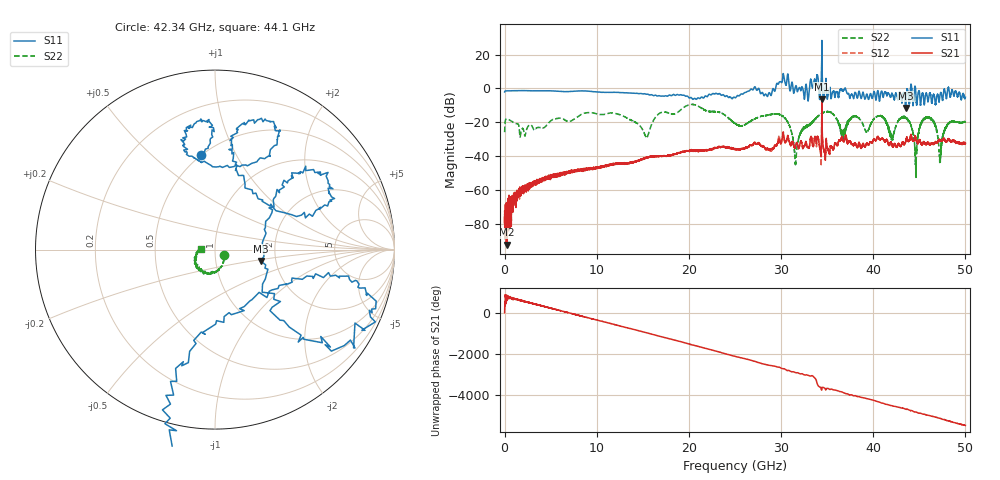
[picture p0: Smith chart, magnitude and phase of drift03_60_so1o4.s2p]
!Created with skrf (http://scikit-rf.org).
# Hz S RI R 50.0
!freq ReS11 ImS11 ReS21 ImS21 ReS12 ImS12 ReS22 ImS22
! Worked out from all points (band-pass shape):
!   10000 points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, 5.3 MHz to 50 GHz, reference 50 ohm
!   highest |S21| = -6.55 dB at 34.43 GHz (marker M1); lowest = -92.3 dB at 225.3 MHz (marker M2)
!   |S21| within 3 dB of the highest: 34.42737 GHz to 34.43454 GHz (7.166 MHz wide, 0.0208 % of centre)
!   lowest |S11| = -11.6 dB at 43.53 GHz (marker M3), VSWR 1.71, Z = 83.2 - j11.3 ohm
!   |S11| at or under -10 dB: 43.48699 GHz to 43.54598 GHz (59 MHz wide, 0.136 % of centre); 44.31256 GHz to 44.31621 GHz (3.647 MHz wide, 0.00823 % of centre)
!   |S22| runs from -52.6 to -9.4 dB; largest |S21 - S12| = 0.13
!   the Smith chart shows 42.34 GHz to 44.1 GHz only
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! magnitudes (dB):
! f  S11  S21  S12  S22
! 5.3 MHz  -2.1  -76.2  -79.9  -25.9
! 225.3 MHz  -1.4  -92.3  -70.8  -18.0
! 2.65 GHz  -1.4  -56.9  -56.9  -21.9
! 8.34 GHz  -1.5  -48.5  -48.1  -15.3
! 15.4 GHz  -3.5  -41.0  -41.0  -28.9
! 16.67 GHz  -4.4  -40.2  -40.0  -15.3
! 20.45 GHz  -6.5  -36.8  -36.6  -9.5
! 25.01 GHz  -5.5  -35.9  -35.9  -20.8
! 29.93 GHz  4.0  -32.5  -31.8  -15.6
! 31.59 GHz  1.4  -33.9  -34.1  -43.9
! 33.34 GHz  2.6  -30.2  -30.6  -20.3
! 34.43 GHz  28.3  -6.6  -8.4  -14.5
! 36.71 GHz  -1.4  -30.2  -30.2  -24.7
! 37.95 GHz  -4.0  -32.6  -32.5  -16.2
! 41.67 GHz  -2.8  -33.3  -33.5  -23.4
! 43.53 GHz  -11.6  -31.3  -31.2  -17.2
! 44.62 GHz  -2.3  -29.2  -29.5  -44.1
! 45.68 GHz  -3.8  -33.0  -33.2  -17.3
! 46.61 GHz  -3.8  -32.5  -32.5  -20.5
! 47.28 GHz  -3.1  -30.8  -30.7  -44.5
! 48.2 GHz  0.1  -29.9  -29.9  -20.8
! 50 GHz  -5.2  -32.3  -32.5  -19.5
